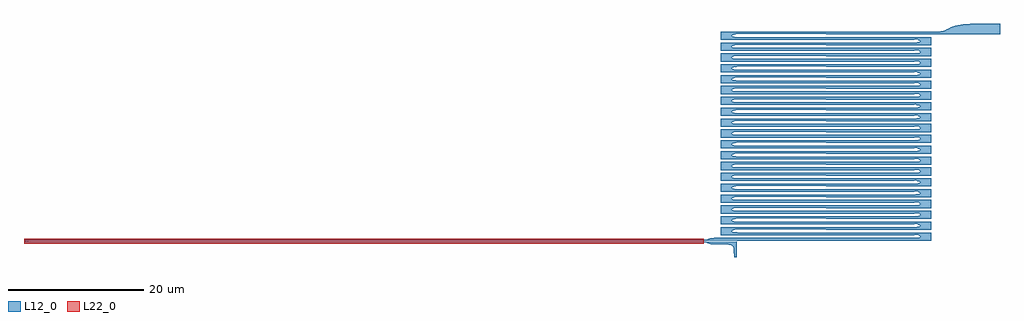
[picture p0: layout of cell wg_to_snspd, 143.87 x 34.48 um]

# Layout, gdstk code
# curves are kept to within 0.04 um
from math import pi, radians
import gdstk
lib = gdstk.Library(unit=1e-6, precision=1e-09)
def R(c, l, rs):  # rectangles x0, y0, x1, y1
    for r in rs: c.add(gdstk.rectangle(r[:2], r[2:], *l))
def P(c, l, *ps):  # polygons
    for p in ps: c.add(gdstk.Polygon(p, *l))
L12_0 = (12, 0)
L22_0 = (22, 0)

rectangle = lib.new_cell('rectangle')
R(rectangle, L12_0, [(0,0,15.492,0.4)])

compass = lib.new_cell('compass')
compass.add(gdstk.Reference(rectangle, (-7.746,-0.2)))

hairpin = lib.new_cell('hairpin')
P(hairpin, L12_0, [(-0.79,-0.2),(-0.113,-0.156),(0.027,-0.094),(0.076,0),(1.676,0),(1.676,-0.6),(-13.816,-0.6),(-13.816,-0.2)],
  [(-0.79,0.2),(-0.113,0.156),(0.027,0.094),(0.076,0),(1.676,0),(1.676,0.6),(-13.816,0.6),(-13.816,0.2)])

rectangle001 = lib.new_cell('rectangle001')
R(rectangle001, L12_0, [(0,0,15.492,0.4)])

compass001 = lib.new_cell('compass001')
compass001.add(gdstk.Reference(rectangle001, (-7.746,-0.2)))

snspd = lib.new_cell('snspd')
snspd.add(gdstk.Reference(compass, (0,0)))
snspd.add(gdstk.Reference(hairpin, (21.562,-0.4)))
snspd.add(gdstk.Reference(hairpin, (-6.07,-1.2), rotation=pi))
snspd.add(gdstk.Reference(hairpin, (21.562,-2)))
snspd.add(gdstk.Reference(hairpin, (-6.07,-2.8), rotation=pi))
snspd.add(gdstk.Reference(hairpin, (21.562,-3.6)))
snspd.add(gdstk.Reference(hairpin, (-6.07,-4.4), rotation=pi))
snspd.add(gdstk.Reference(hairpin, (21.562,-5.2)))
snspd.add(gdstk.Reference(hairpin, (-6.07,-6), rotation=pi))
snspd.add(gdstk.Reference(hairpin, (21.562,-6.8)))
snspd.add(gdstk.Reference(hairpin, (-6.07,-7.6), rotation=pi))
snspd.add(gdstk.Reference(hairpin, (21.562,-8.4)))
snspd.add(gdstk.Reference(hairpin, (-6.07,-9.2), rotation=pi))
snspd.add(gdstk.Reference(hairpin, (21.562,-10)))
snspd.add(gdstk.Reference(hairpin, (-6.07,-10.8), rotation=pi))
snspd.add(gdstk.Reference(hairpin, (21.562,-11.6)))
snspd.add(gdstk.Reference(hairpin, (-6.07,-12.4), rotation=pi))
snspd.add(gdstk.Reference(hairpin, (21.562,-13.2)))
snspd.add(gdstk.Reference(hairpin, (-6.07,-14), rotation=pi))
snspd.add(gdstk.Reference(hairpin, (21.562,-14.8)))
snspd.add(gdstk.Reference(hairpin, (-6.07,-15.6), rotation=pi))
snspd.add(gdstk.Reference(hairpin, (21.562,-16.4)))
snspd.add(gdstk.Reference(hairpin, (-6.07,-17.2), rotation=pi))
snspd.add(gdstk.Reference(hairpin, (21.562,-18)))
snspd.add(gdstk.Reference(hairpin, (-6.07,-18.8), rotation=pi))
snspd.add(gdstk.Reference(hairpin, (21.562,-19.6)))
snspd.add(gdstk.Reference(hairpin, (-6.07,-20.4), rotation=pi))
snspd.add(gdstk.Reference(hairpin, (21.562,-21.2)))
snspd.add(gdstk.Reference(hairpin, (-6.07,-22), rotation=pi))
snspd.add(gdstk.Reference(hairpin, (21.562,-22.8)))
snspd.add(gdstk.Reference(hairpin, (-6.07,-23.6), rotation=pi))
snspd.add(gdstk.Reference(hairpin, (21.562,-24.4)))
snspd.add(gdstk.Reference(hairpin, (-6.07,-25.2), rotation=pi))
snspd.add(gdstk.Reference(hairpin, (21.562,-26)))
snspd.add(gdstk.Reference(hairpin, (-6.07,-26.8), rotation=pi))
snspd.add(gdstk.Reference(hairpin, (21.562,-27.6)))
snspd.add(gdstk.Reference(hairpin, (-6.07,-28.4), rotation=pi))
snspd.add(gdstk.Reference(hairpin, (21.562,-29.2)))
snspd.add(gdstk.Reference(hairpin, (-6.07,-30), rotation=pi))
snspd.add(gdstk.Reference(compass001, (15.492,-30.4), rotation=pi))

step = lib.new_cell('step')
P(step, L12_0, [(-0.39,0.1),(0.024,0.121),(0.438,0.296),(0.749,0.361),(2.146,0.4),(2.146,0),(-0.39,0)])

hairpin001 = lib.new_cell('hairpin001')
P(hairpin001, L12_0, [(-0.247,-0.075),(-0.032,-0.06),(0.015,-0.036),(0.031,0),(0.431,0),(0.431,-0.175),(-99.569,-0.175),(-99.569,-0.075)],
  [(-0.247,0.075),(-0.032,0.06),(0.015,0.036),(0.031,0),(0.431,0),(0.431,0.175),(-99.569,0.175),(-99.569,0.075)])

unnamed = lib.new_cell('Unnamed')
P(unnamed, L12_0, [(1.163,0.425),(0.836,0.493),(0.57,0.688),(0.425,1.163),(0.4,2.327),(0,2.327),(0,0),(2.327,0),(2.327,0.4)])

step001 = lib.new_cell('step001')
P(step001, L12_0, [(-1.56,0.4),(-0.525,0.412),(0.096,0.485),(1.753,1.184),(2.995,1.446),(5.066,1.572),(8.586,1.6),(8.586,0),(-1.56,0)])

rectangle002 = lib.new_cell('rectangle002')
R(rectangle002, L22_0, [(0,0,100.2,0.75)])

compass002 = lib.new_cell('compass002')
compass002.add(gdstk.Reference(rectangle002, (-50.1,-0.375)))

wg_to_snspd = lib.new_cell('wg_to_snspd')
wg_to_snspd.add(gdstk.Reference(snspd, (110.482,0.275), x_reflection=True))
wg_to_snspd.add(gdstk.Reference(step, (100.59,0.075)))
wg_to_snspd.add(gdstk.Reference(hairpin001, (0.631,0), rotation=pi))
wg_to_snspd.add(gdstk.Reference(step, (100.59,-0.075), x_reflection=True))
wg_to_snspd.add(gdstk.Reference(unnamed, (105.063,-0.075), rotation=pi))
wg_to_snspd.add(gdstk.Reference(step001, (135.281,30.475)))
wg_to_snspd.add(gdstk.Reference(compass002, (50.1,0)))

lib.write_gds('wg_to_snspd.gds')
